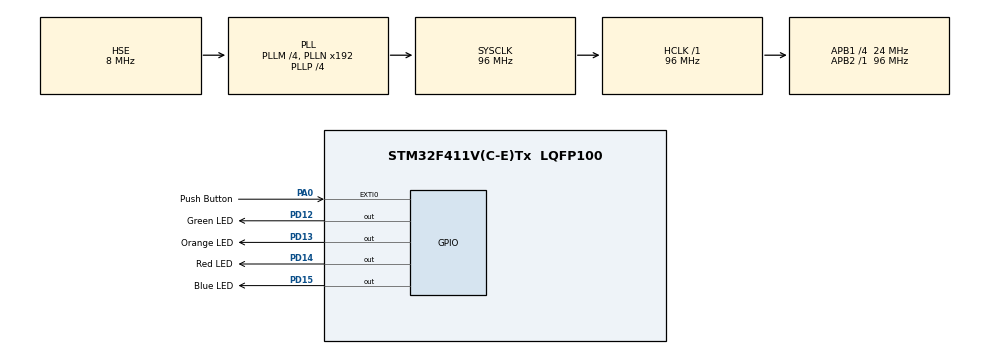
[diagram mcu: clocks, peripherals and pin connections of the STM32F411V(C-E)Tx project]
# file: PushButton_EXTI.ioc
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Mcu.Family=STM32F4
Mcu.Name=STM32F411V(C-E)Tx
Mcu.Package=LQFP100
NVIC.EXTI0_IRQn=true\:0\:0\:false\:false\:true\:true\:true
NVIC.PriorityGroup=NVIC_PRIORITYGROUP_0
PA0-WKUP.GPIO_Label=Push Button
PA0-WKUP.Signal=GPXTI0
PD12.GPIO_Label=Green LED
PD12.Signal=GPIO_Output
PD13.GPIO_Label=Orange LED
PD13.Signal=GPIO_Output
PD14.GPIO_Label=Red LED
PD14.Signal=GPIO_Output
PD15.GPIO_Label=Blue LED
PD15.Signal=GPIO_Output
PH0\ -\ OSC_IN.Mode=HSE-External-Oscillator
PH0\ -\ OSC_IN.Signal=RCC_OSC_IN
PH1\ -\ OSC_OUT.Mode=HSE-External-Oscillator
PH1\ -\ OSC_OUT.Signal=RCC_OSC_OUT
ProjectManager.HeapSize=0x200
ProjectManager.StackSize=0x400
ProjectManager.TargetToolchain=MDK-ARM V5
RCC.48MHZClocksFreq_Value=48000000
RCC.AHBFreq_Value=96000000
RCC.APB1CLKDivider=RCC_HCLK_DIV4
RCC.APB1Freq_Value=24000000
RCC.APB1TimFreq_Value=48000000
RCC.APB2Freq_Value=96000000
RCC.APB2TimFreq_Value=96000000
RCC.CortexFreq_Value=96000000
RCC.HCLKFreq_Value=96000000
RCC.HSE_VALUE=8000000
RCC.HSI_VALUE=16000000
RCC.LSE_VALUE=32768
RCC.PLLI2SM=5
RCC.PLLI2SN=200
RCC.PLLM=4
RCC.PLLP=RCC_PLLP_DIV4
RCC.PLLQ=8
RCC.PLLSourceVirtual=RCC_PLLSOURCE_HSE
RCC.SYSCLKFreq_VALUE=96000000
RCC.SYSCLKSource=RCC_SYSCLKSOURCE_PLLCLK
RCC.VCOOutputFreq_Value=384000000
board=STM32F411E-DISCO

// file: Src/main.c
/* USER CODE BEGIN Header */
/**
  ******************************************************************************
  * @file           : main.c
  * @brief          : Main program body
  ******************************************************************************
  * @attention
  *
  * <h2><center>&copy; Copyright (c) 2019 STMicroelectronics.
  * All rights reserved.</center></h2>
  *
  * This software component is licensed by ST under BSD 3-Clause license,
  * the "License"; You may not use this file except in compliance with the
  * License. You may obtain a copy of the License at:
  *                        opensource.org/licenses/BSD-3-Clause
  * STM32F411 Discovery Push button EXTI interrupt LED3, LED4,LED5,LED6
  * K.Kanas 22/8/2019
  ******************************************************************************
  */
/* USER CODE END Header */

#include "main.h"

/* USER CODE BEGIN PV */
 uint8_t sw_count;
/* USER CODE END PV */

void SystemClock_Config(void);
static void MX_GPIO_Init(void);

int main(void)
{

  /* MCU Configuration--------------------------------------------------------*/

  /* Reset of all peripherals, Initializes the Flash interface and the Systick. */
  HAL_Init();

  /* Configure the system clock */
  SystemClock_Config();

  /* Initialize all configured peripherals */
  MX_GPIO_Init();

  /* Infinite loop */
  while (1)
  {

  }
}

void SystemClock_Config(void)
{
  RCC_OscInitTypeDef RCC_OscInitStruct = {0};
  RCC_ClkInitTypeDef RCC_ClkInitStruct = {0};

  /** Configure the main internal regulator output voltage
  */
  __HAL_RCC_PWR_CLK_ENABLE();
  __HAL_PWR_VOLTAGESCALING_CONFIG(PWR_REGULATOR_VOLTAGE_SCALE1);
  /** Initializes the CPU, AHB and APB busses clocks
  */
  RCC_OscInitStruct.OscillatorType = RCC_OSCILLATORTYPE_HSE;
  RCC_OscInitStruct.HSEState = RCC_HSE_ON;
  RCC_OscInitStruct.PLL.PLLState = RCC_PLL_ON;
  RCC_OscInitStruct.PLL.PLLSource = RCC_PLLSOURCE_HSE;
  RCC_OscInitStruct.PLL.PLLM = 4;
  RCC_OscInitStruct.PLL.PLLN = 192;
  RCC_OscInitStruct.PLL.PLLP = RCC_PLLP_DIV4;
  RCC_OscInitStruct.PLL.PLLQ = 8;
  if (HAL_RCC_OscConfig(&RCC_OscInitStruct) != HAL_OK)
  {
    Error_Handler();
  }
  /** Initializes the CPU, AHB and APB busses clocks
  */
  RCC_ClkInitStruct.ClockType = RCC_CLOCKTYPE_HCLK|RCC_CLOCKTYPE_SYSCLK
                              |RCC_CLOCKTYPE_PCLK1|RCC_CLOCKTYPE_PCLK2;
  RCC_ClkInitStruct.SYSCLKSource = RCC_SYSCLKSOURCE_PLLCLK;
  RCC_ClkInitStruct.AHBCLKDivider = RCC_SYSCLK_DIV1;
  RCC_ClkInitStruct.APB1CLKDivider = RCC_HCLK_DIV4;
  RCC_ClkInitStruct.APB2CLKDivider = RCC_HCLK_DIV1;

  if (HAL_RCC_ClockConfig(&RCC_ClkInitStruct, FLASH_LATENCY_3) != HAL_OK)
  {
    Error_Handler();
  }
}

static void MX_GPIO_Init(void)
{
  GPIO_InitTypeDef GPIO_InitStruct = {0};

  /* GPIO Ports Clock Enable */
  __HAL_RCC_GPIOH_CLK_ENABLE();
  __HAL_RCC_GPIOA_CLK_ENABLE();
  __HAL_RCC_GPIOD_CLK_ENABLE();

  /*Configure GPIO pin Output Level */
  HAL_GPIO_WritePin(GPIOD, Green_LED_Pin|Orange_LED_Pin|Red_LED_Pin|Blue_LED_Pin, GPIO_PIN_RESET);

  /*Configure GPIO pin : Push_Button_Pin */
  GPIO_InitStruct.Pin = Push_Button_Pin;
  GPIO_InitStruct.Mode = GPIO_MODE_IT_RISING;
  GPIO_InitStruct.Pull = GPIO_NOPULL;
  HAL_GPIO_Init(Push_Button_GPIO_Port, &GPIO_InitStruct);

  /*Configure GPIO pins : Green_LED_Pin Orange_LED_Pin Red_LED_Pin Blue_LED_Pin */
  GPIO_InitStruct.Pin = Green_LED_Pin|Orange_LED_Pin|Red_LED_Pin|Blue_LED_Pin;
  GPIO_InitStruct.Mode = GPIO_MODE_OUTPUT_PP;
  GPIO_InitStruct.Pull = GPIO_NOPULL;
  GPIO_InitStruct.Speed = GPIO_SPEED_FREQ_LOW;
  HAL_GPIO_Init(GPIOD, &GPIO_InitStruct);

  /* EXTI interrupt init*/
  HAL_NVIC_SetPriority(EXTI0_IRQn, 0, 0);
  HAL_NVIC_EnableIRQ(EXTI0_IRQn);

}

/* USER CODE BEGIN 4 */

/**
  * @brief  EXTI line detection callbacks.
  * @param  GPIO_Pin Specifies the pins connected EXTI line
  * @retval None
  */

  void HAL_GPIO_EXTI_Callback(uint16_t GPIO_Pin)
{
  /* Prevent unused argument(s) compilation warning */
  UNUSED(GPIO_Pin);
  /* NOTE: This function Should not be modified, when the callback is needed,
           the HAL_GPIO_EXTI_Callback could be implemented in the user file
   */

	//HAL_GPIO_TogglePin(GPIOD,GPIO_PIN_13);
	 for(uint32_t i=0;i<3000000;i++){}
		;

		 sw_count++;
		 if (sw_count==1)
		 {
		   HAL_GPIO_TogglePin(GPIOD,GPIO_PIN_12);

		 }
		 if(sw_count==2)
		 {
		    HAL_GPIO_TogglePin(GPIOD,GPIO_PIN_13);
		 }

		 if(sw_count==3)
		 {
		  HAL_GPIO_TogglePin(GPIOD,GPIO_PIN_14);
		 }

		  if(sw_count==4)
		 {
		  HAL_GPIO_TogglePin(GPIOD,GPIO_PIN_15);
		 }

		 if(sw_count>4)
		 {
		   sw_count=0;
			 HAL_GPIO_TogglePin(GPIOD,GPIO_PIN_13);
			 HAL_GPIO_TogglePin(GPIOD,GPIO_PIN_12);
			 HAL_GPIO_TogglePin(GPIOD,GPIO_PIN_14);
			 HAL_GPIO_TogglePin(GPIOD,GPIO_PIN_15);
		 }

}

/* USER CODE END 4 */

void Error_Handler(void)
{
}

/************************ (C) COPYRIGHT STMicroelectronics *****END OF FILE****/
